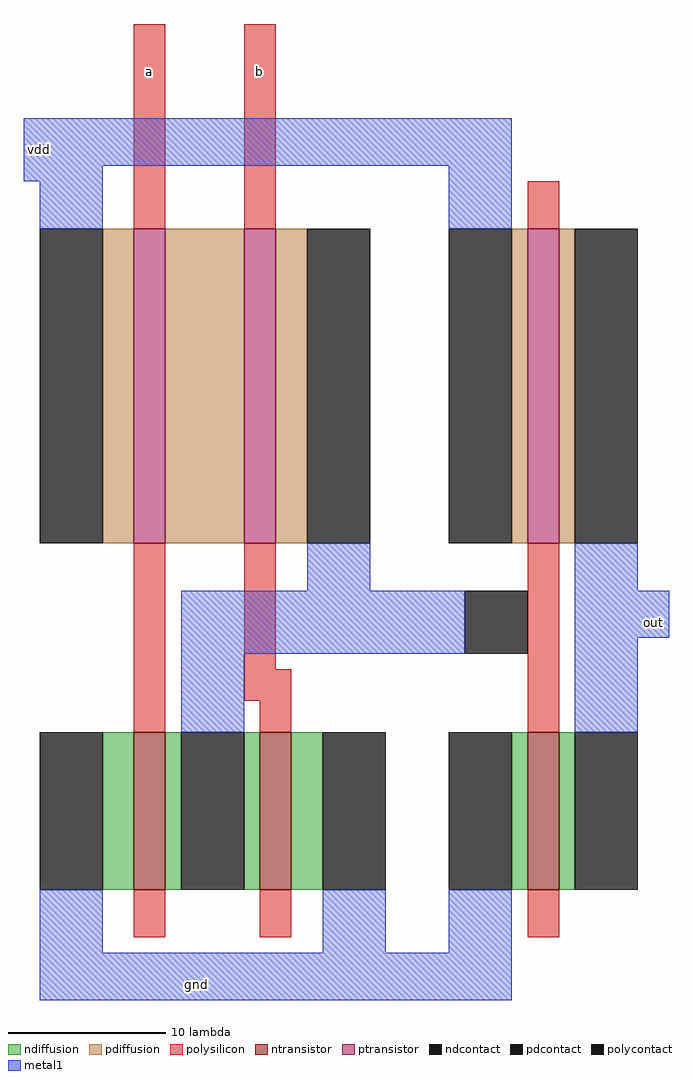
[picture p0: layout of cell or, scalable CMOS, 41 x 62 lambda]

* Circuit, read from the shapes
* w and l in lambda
.subckt or a b gnd out vdd
M1 n1 a gnd VSUBS nfet w=10 l=2
M2 gnd b n1 VSUBS nfet w=10 l=2
M3 out n1 gnd VSUBS nfet w=10 l=2
M4 n2 a vdd NWELL pfet w=20 l=2
M5 n1 b n2 NWELL pfet w=20 l=2
M6 out n1 vdd NWELL pfet w=20 l=2
.ends

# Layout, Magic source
magic
tech scmos
<< ntransistor >>
rect -20 -20 -18 -10
rect -12 -20 -10 -10
rect 5 -20 7 -10
<< ptransistor >>
rect -20 2 -18 22
rect -13 2 -11 22
rect 5 2 7 22
<< ndiffusion >>
rect -22 -20 -20 -10
rect -18 -20 -17 -10
rect -13 -20 -12 -10
rect -10 -20 -8 -10
rect 4 -20 5 -10
rect 7 -20 8 -10
<< pdiffusion >>
rect -22 2 -20 22
rect -18 2 -13 22
rect -11 2 -9 22
rect 4 2 5 22
rect 7 2 8 22
<< ndcontact >>
rect -26 -20 -22 -10
rect -17 -20 -13 -10
rect -8 -20 -4 -10
rect 0 -20 4 -10
rect 8 -20 12 -10
<< pdcontact >>
rect -26 2 -22 22
rect -9 2 -5 22
rect 0 2 4 22
rect 8 2 12 22
<< polysilicon >>
rect -20 22 -18 35
rect -13 22 -11 35
rect 5 22 7 25
rect -20 -10 -18 2
rect -13 -6 -11 2
rect -13 -8 -10 -6
rect -12 -10 -10 -8
rect 5 -10 7 2
rect -20 -23 -18 -20
rect -12 -23 -10 -20
rect 5 -23 7 -20
<< polycontact >>
rect 1 -5 5 -1
<< metal1 >>
rect -27 26 4 29
rect -27 25 -22 26
rect -26 22 -22 25
rect 0 22 4 26
rect -9 -1 -5 2
rect 8 -1 12 2
rect -17 -5 1 -1
rect 8 -4 14 -1
rect -17 -10 -13 -5
rect 8 -10 12 -4
rect -26 -24 -22 -20
rect -8 -24 -4 -20
rect 0 -24 4 -20
rect -26 -27 4 -24
<< labels >>
rlabel metal1 -16 -26 -16 -26 1 gnd
rlabel metal1 -26 27 -26 27 4 vdd
rlabel polysilicon -19 32 -19 32 5 a
rlabel polysilicon -12 32 -12 32 5 b
rlabel metal1 13 -3 13 -3 7 out
<< end >>
